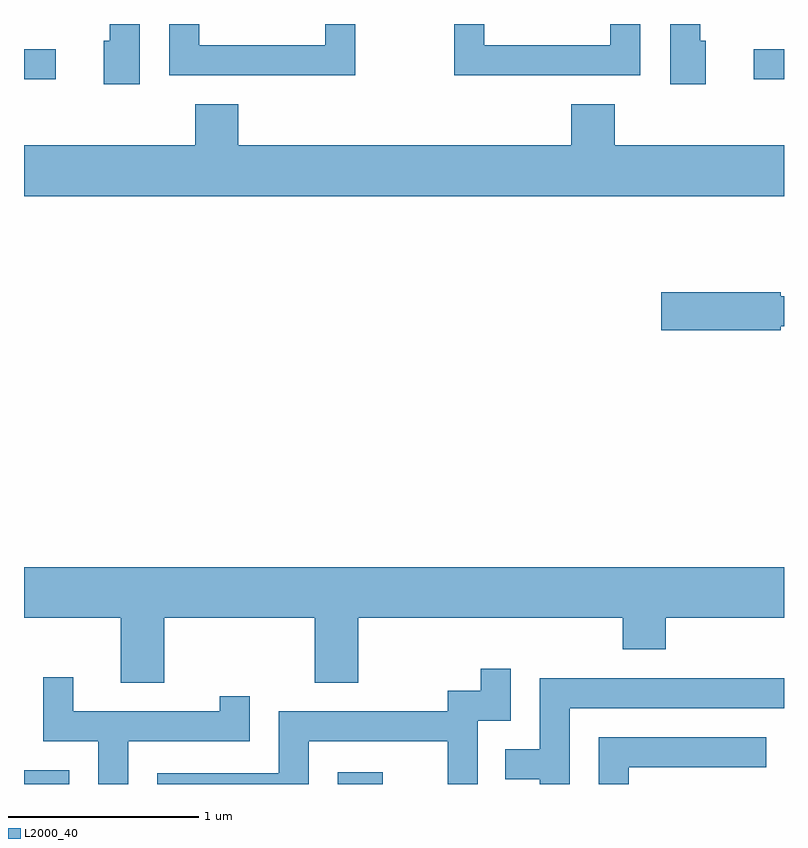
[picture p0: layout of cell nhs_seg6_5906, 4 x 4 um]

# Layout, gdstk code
import gdstk
lib = gdstk.Library(unit=1e-6, precision=1e-09)
def R(c, l, rs):  # rectangles x0, y0, x1, y1
    for r in rs: c.add(gdstk.rectangle(r[:2], r[2:], *l))
def P(c, l, *ps):  # polygons
    for p in ps: c.add(gdstk.Polygon(p, *l))
L2000_40 = (2000, 40)

nhs_seg6_5906 = lib.new_cell('nhs_seg6_5906')
R(nhs_seg6_5906, L2000_40, [(363.611,1660.162,363.849,1660.234), (365.261,1660.162,365.498,1660.224), (363.611,1663.871,363.778,1664.029), (367.453,1663.871,367.611,1664.029)])
P(nhs_seg6_5906, L2000_40, [(367.199,1664.074),(367.169,1664.074),(367.169,1664.162),(367.011,1664.162),(367.011,1663.846),(367.199,1663.846)],
  [(365.354,1664.162),(365.196,1664.162),(365.196,1664.049),(364.534,1664.049),(364.534,1664.162),(364.376,1664.162),(364.376,1663.891),(365.354,1663.891)],
  [(364.219,1664.162),(364.061,1664.162),(364.061,1664.074),(364.031,1664.074),(364.031,1663.846),(364.219,1663.846)],
  [(366.854,1664.162),(366.696,1664.162),(366.696,1664.049),(366.034,1664.049),(366.034,1664.162),(365.876,1664.162),(365.876,1663.891),(366.854,1663.891)],
  [(367.611,1663.524),(366.719,1663.524),(366.719,1663.739),(366.491,1663.739),(366.491,1663.524),(364.739,1663.524),(364.739,1663.739),(364.511,1663.739),(364.511,1663.524),(363.611,1663.524),(363.611,1663.256),(367.611,1663.256)],
  [(367.594,1662.571),(367.611,1662.571),(367.611,1662.729),(367.594,1662.729),(367.594,1662.749),(366.966,1662.749),(366.966,1662.551),(367.594,1662.551)],
  [(364.349,1661.036),(365.141,1661.036),(365.141,1660.696),(365.369,1660.696),(365.369,1661.036),(366.761,1661.036),(366.761,1660.871),(366.989,1660.871),(366.989,1661.036),(367.611,1661.036),(367.611,1661.304),(363.611,1661.304),(363.611,1661.036),(364.121,1661.036),(364.121,1660.696),(364.349,1660.696)],
  [(365.109,1660.386),(365.841,1660.386),(365.841,1660.162),(365.999,1660.162),(365.999,1660.496),(366.174,1660.496),(366.174,1660.768),(366.016,1660.768),(366.016,1660.654),(365.841,1660.654),(365.841,1660.544),(364.951,1660.544),(364.951,1660.219),(364.311,1660.219),(364.311,1660.162),(365.109,1660.162)],
  [(364.159,1660.386),(364.799,1660.386),(364.799,1660.623),(364.641,1660.623),(364.641,1660.544),(363.869,1660.544),(363.869,1660.723),(363.711,1660.723),(363.711,1660.386),(364.001,1660.386),(364.001,1660.162),(364.159,1660.162)],
  [(366.484,1660.561),(367.611,1660.561),(367.611,1660.719),(366.326,1660.719),(366.326,1660.344),(366.143,1660.344),(366.143,1660.186),(366.326,1660.186),(366.326,1660.162),(366.484,1660.162)],
  [(366.794,1660.251),(367.518,1660.251),(367.518,1660.409),(366.636,1660.409),(366.636,1660.162),(366.794,1660.162)])

lib.write_gds('nhs_seg6_5906.gds')
